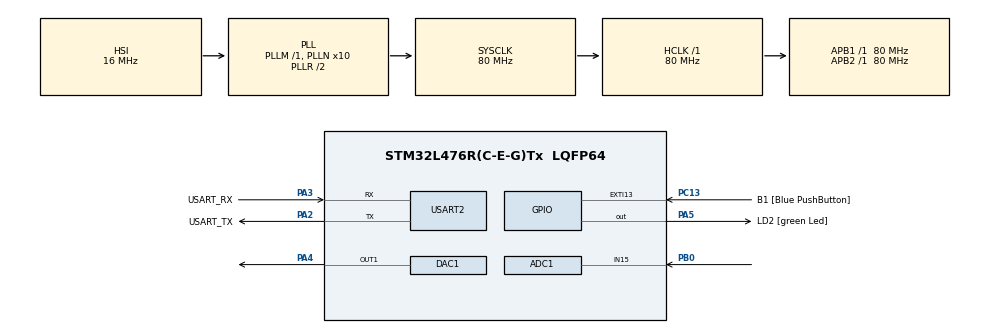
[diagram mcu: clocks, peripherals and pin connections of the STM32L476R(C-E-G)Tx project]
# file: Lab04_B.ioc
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ADC1.Channel-1\#ChannelRegularConversion=ADC_CHANNEL_15
ADC1.NbrOfConversionFlag=1
ADC1.OffsetNumber-1\#ChannelRegularConversion=ADC_OFFSET_NONE
ADC1.Rank-1\#ChannelRegularConversion=1
ADC1.SamplingTime-1\#ChannelRegularConversion=ADC_SAMPLETIME_92CYCLES_5
ADC1.master=1
DAC1.DAC_Trigger-DAC_OUT1=DAC_TRIGGER_T6_TRGO
Dma.DAC_CH1.0.Direction=DMA_MEMORY_TO_PERIPH
Dma.DAC_CH1.0.Instance=DMA1_Channel3
Dma.DAC_CH1.0.MemDataAlignment=DMA_MDATAALIGN_BYTE
Dma.DAC_CH1.0.MemInc=DMA_MINC_ENABLE
Dma.DAC_CH1.0.Mode=DMA_CIRCULAR
Dma.DAC_CH1.0.PeriphDataAlignment=DMA_PDATAALIGN_BYTE
Dma.DAC_CH1.0.PeriphInc=DMA_PINC_DISABLE
Dma.DAC_CH1.0.Priority=DMA_PRIORITY_LOW
Dma.Request0=DAC_CH1
Mcu.Family=STM32L4
Mcu.Name=STM32L476R(C-E-G)Tx
Mcu.Package=LQFP64
NVIC.ADC1_2_IRQn=true\:0\:0\:false\:false\:true\:true\:true
NVIC.DMA1_Channel3_IRQn=true\:0\:0\:false\:false\:true\:false\:true
NVIC.PriorityGroup=NVIC_PRIORITYGROUP_4
PA13\ (JTMS-SWDIO).GPIO_Label=TMS
PA13\ (JTMS-SWDIO).Mode=Serial_Wire
PA13\ (JTMS-SWDIO).Signal=SYS_JTMS-SWDIO
PA14\ (JTCK-SWCLK).GPIO_Label=TCK
PA14\ (JTCK-SWCLK).Mode=Serial_Wire
PA14\ (JTCK-SWCLK).Signal=SYS_JTCK-SWCLK
PA2.GPIO_Label=USART_TX
PA2.GPIO_Mode=GPIO_MODE_AF_PP
PA2.GPIO_PuPd=GPIO_NOPULL
PA2.GPIO_Speed=GPIO_SPEED_FREQ_VERY_HIGH
PA2.Mode=Asynchronous
PA2.Signal=USART2_TX
PA3.GPIO_Label=USART_RX
PA3.GPIO_Mode=GPIO_MODE_AF_PP
PA3.GPIO_PuPd=GPIO_NOPULL
PA3.GPIO_Speed=GPIO_SPEED_FREQ_VERY_HIGH
PA3.Mode=Asynchronous
PA3.Signal=USART2_RX
PA4.Signal=COMP_DAC11_group
PA5.GPIO_Label=LD2 [green Led]
PA5.GPIO_ModeDefaultOutputPP=GPIO_MODE_OUTPUT_PP
PA5.GPIO_PuPd=GPIO_NOPULL
PA5.GPIO_Speed=GPIO_SPEED_FREQ_LOW
PA5.Signal=GPIO_Output
PB0.Signal=ADCx_IN15
PB3\ (JTDO-TRACESWO).GPIO_Label=SWO
PB3\ (JTDO-TRACESWO).Signal=SYS_JTDO-SWO
PC13.GPIO_Label=B1 [Blue PushButton]
PC13.GPIO_ModeDefaultEXTI=GPIO_MODE_IT_FALLING
PC13.GPIO_PuPd=GPIO_NOPULL
PC13.Signal=GPXTI13
PC14-OSC32_IN\ (PC14).Mode=LSE-External-Oscillator
PC14-OSC32_IN\ (PC14).Signal=RCC_OSC32_IN
PC15-OSC32_OUT\ (PC15).Mode=LSE-External-Oscillator
PC15-OSC32_OUT\ (PC15).Signal=RCC_OSC32_OUT
PH0-OSC_IN\ (PH0).Signal=RCC_OSC_IN
PH1-OSC_OUT\ (PH1).Signal=RCC_OSC_OUT
ProjectManager.HeapSize=0x200
ProjectManager.StackSize=0x400
ProjectManager.TargetToolchain=STM32CubeIDE
RCC.ADCFreq_Value=64000000
RCC.AHBFreq_Value=80000000
RCC.APB1Freq_Value=80000000
RCC.APB1TimFreq_Value=80000000
RCC.APB2Freq_Value=80000000
RCC.APB2TimFreq_Value=80000000
RCC.CortexFreq_Value=80000000
RCC.HCLKFreq_Value=80000000
RCC.HSE_VALUE=8000000
RCC.HSI_VALUE=16000000
RCC.MSI_VALUE=4000000
RCC.PLLN=10
RCC.PLLSourceVirtual=RCC_PLLSOURCE_HSI
RCC.PREFETCH_ENABLE=1
RCC.SYSCLKFreq_VALUE=80000000
RCC.SYSCLKSource=RCC_SYSCLKSOURCE_PLLCLK
RCC.USBFreq_Value=64000000
RCC.VCOOutputFreq_Value=160000000
SH.ADCx_IN15.0=ADC1_IN15,IN15-Single-Ended
SH.COMP_DAC11_group.0=DAC1_OUT1,DAC_OUT1
TIM6.Period=4999
TIM6.Prescaler=15999
USART2.VirtualMode-Asynchronous=VM_ASYNC
VP_TIM6_VS_ClockSourceINT.Mode=Enable_Timer
board=NUCLEO-L476RG

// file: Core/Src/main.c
/* USER CODE BEGIN Header */
/**
  ******************************************************************************
  * @file           : main.c
  * @brief          : Main program body
  ******************************************************************************
  * @attention
  *
  * Copyright (c) 2022 STMicroelectronics.
  * All rights reserved.
  *
  * This software is licensed under terms that can be found in the LICENSE file
  * in the root directory of this software component.
  * If no LICENSE file comes with this software, it is provided AS-IS.
  *
  ******************************************************************************
  */
/* USER CODE END Header */
#include "main.h"

/* USER CODE BEGIN Includes */
#include <stdio.h>
/* USER CODE END Includes */

ADC_HandleTypeDef hadc1;

DAC_HandleTypeDef hdac1;
DMA_HandleTypeDef hdma_dac_ch1;

TIM_HandleTypeDef htim6;

UART_HandleTypeDef huart2;

/* USER CODE BEGIN PV */
volatile uint8_t adc_flag = 0;
volatile int adc_value;

volatile int dac_value;

char dac_dma[] = {128 ,176 ,217 ,245 ,255 ,245 ,217 ,176 ,128 ,79 ,38 ,10 ,1 ,10 ,38 ,79};
/* USER CODE END PV */

void SystemClock_Config(void);
static void MX_GPIO_Init(void);
static void MX_USART2_UART_Init(void);
static void MX_ADC1_Init(void);
static void MX_DAC1_Init(void);
static void MX_DMA_Init(void);
static void MX_TIM6_Init(void);
/* USER CODE BEGIN PFP */

/**
 * @brief Handle ADC interrupt
 * @param hadc ADC which called interrupt
 */
void HAL_ADC_ConvCpltCallback(ADC_HandleTypeDef *hadc)
{
	if(hadc == &hadc1/*czy odpowiednie peryferium*/)
	{
		adc_value = HAL_ADC_GetValue(&hadc1);
		adc_flag = 1;
	}
}

/**
 * @brief Redefine function to make printf to UART
 */
int _write(int file, char *message, int len)
{
	HAL_UART_Transmit(&huart2, (uint8_t*)message, len, 50);
	return len;
}

/* USER CODE END PFP */

int main(void)
{

  /* MCU Configuration--------------------------------------------------------*/

  /* Reset of all peripherals, Initializes the Flash interface and the Systick. */
  HAL_Init();

  /* Configure the system clock */
  SystemClock_Config();

  /* Initialize all configured peripherals */
  MX_GPIO_Init();
  MX_USART2_UART_Init();
  MX_ADC1_Init();
  MX_DAC1_Init();
  MX_DMA_Init();
  MX_TIM6_Init();

  /* Infinite loop */
  /* USER CODE BEGIN WHILE */
  HAL_DAC_SetValue(&hdac1, DAC1_CHANNEL_1, DAC_ALIGN_8B_R, 0);
  HAL_DAC_Start_DMA(&hdac1, DAC_CHANNEL_1, &dac_dma[0], 16, DAC_ALIGN_8B_R);

  HAL_TIM_Base_Start(&htim6);

  HAL_ADC_Start_IT(&hadc1);
  while (1)
  {
	  if(adc_flag == 1)
	  {
		  adc_flag = 0;

		  dac_value += 50;
		  dac_value %= 300;
		  HAL_DAC_SetValue(&hdac1, DAC1_CHANNEL_1, DAC_ALIGN_8B_R, dac_value);

		  printf("DAC value = %d\r\n", dac_value);
		  printf("ADC value = %d\r\n", adc_value);

		  HAL_ADC_Start_IT(&hadc1);
	  }
	  HAL_Delay(1000);
    /* USER CODE END WHILE */

  }
}

void SystemClock_Config(void)
{
  RCC_OscInitTypeDef RCC_OscInitStruct = {0};
  RCC_ClkInitTypeDef RCC_ClkInitStruct = {0};

  /** Configure the main internal regulator output voltage
  */
  if (HAL_PWREx_ControlVoltageScaling(PWR_REGULATOR_VOLTAGE_SCALE1) != HAL_OK)
  {
    Error_Handler();
  }
  /** Initializes the RCC Oscillators according to the specified parameters
  * in the RCC_OscInitTypeDef structure.
  */
  RCC_OscInitStruct.OscillatorType = RCC_OSCILLATORTYPE_HSI;
  RCC_OscInitStruct.HSIState = RCC_HSI_ON;
  RCC_OscInitStruct.HSICalibrationValue = RCC_HSICALIBRATION_DEFAULT;
  RCC_OscInitStruct.PLL.PLLState = RCC_PLL_ON;
  RCC_OscInitStruct.PLL.PLLSource = RCC_PLLSOURCE_HSI;
  RCC_OscInitStruct.PLL.PLLM = 1;
  RCC_OscInitStruct.PLL.PLLN = 10;
  RCC_OscInitStruct.PLL.PLLP = RCC_PLLP_DIV7;
  RCC_OscInitStruct.PLL.PLLQ = RCC_PLLQ_DIV2;
  RCC_OscInitStruct.PLL.PLLR = RCC_PLLR_DIV2;
  if (HAL_RCC_OscConfig(&RCC_OscInitStruct) != HAL_OK)
  {
    Error_Handler();
  }
  /** Initializes the CPU, AHB and APB buses clocks
  */
  RCC_ClkInitStruct.ClockType = RCC_CLOCKTYPE_HCLK|RCC_CLOCKTYPE_SYSCLK
                              |RCC_CLOCKTYPE_PCLK1|RCC_CLOCKTYPE_PCLK2;
  RCC_ClkInitStruct.SYSCLKSource = RCC_SYSCLKSOURCE_PLLCLK;
  RCC_ClkInitStruct.AHBCLKDivider = RCC_SYSCLK_DIV1;
  RCC_ClkInitStruct.APB1CLKDivider = RCC_HCLK_DIV1;
  RCC_ClkInitStruct.APB2CLKDivider = RCC_HCLK_DIV1;

  if (HAL_RCC_ClockConfig(&RCC_ClkInitStruct, FLASH_LATENCY_4) != HAL_OK)
  {
    Error_Handler();
  }
}

static void MX_ADC1_Init(void)
{

  ADC_MultiModeTypeDef multimode = {0};
  ADC_ChannelConfTypeDef sConfig = {0};

  /** Common config
  */
  hadc1.Instance = ADC1;
  hadc1.Init.ClockPrescaler = ADC_CLOCK_ASYNC_DIV1;
  hadc1.Init.Resolution = ADC_RESOLUTION_12B;
  hadc1.Init.DataAlign = ADC_DATAALIGN_RIGHT;
  hadc1.Init.ScanConvMode = ADC_SCAN_DISABLE;
  hadc1.Init.EOCSelection = ADC_EOC_SINGLE_CONV;
  hadc1.Init.LowPowerAutoWait = DISABLE;
  hadc1.Init.ContinuousConvMode = DISABLE;
  hadc1.Init.NbrOfConversion = 1;
  hadc1.Init.DiscontinuousConvMode = DISABLE;
  hadc1.Init.ExternalTrigConv = ADC_SOFTWARE_START;
  hadc1.Init.ExternalTrigConvEdge = ADC_EXTERNALTRIGCONVEDGE_NONE;
  hadc1.Init.DMAContinuousRequests = DISABLE;
  hadc1.Init.Overrun = ADC_OVR_DATA_PRESERVED;
  hadc1.Init.OversamplingMode = DISABLE;
  if (HAL_ADC_Init(&hadc1) != HAL_OK)
  {
    Error_Handler();
  }
  /** Configure the ADC multi-mode
  */
  multimode.Mode = ADC_MODE_INDEPENDENT;
  if (HAL_ADCEx_MultiModeConfigChannel(&hadc1, &multimode) != HAL_OK)
  {
    Error_Handler();
  }
  /** Configure Regular Channel
  */
  sConfig.Channel = ADC_CHANNEL_15;
  sConfig.Rank = ADC_REGULAR_RANK_1;
  sConfig.SamplingTime = ADC_SAMPLETIME_92CYCLES_5;
  sConfig.SingleDiff = ADC_SINGLE_ENDED;
  sConfig.OffsetNumber = ADC_OFFSET_NONE;
  sConfig.Offset = 0;
  if (HAL_ADC_ConfigChannel(&hadc1, &sConfig) != HAL_OK)
  {
    Error_Handler();
  }

}

static void MX_DAC1_Init(void)
{

  DAC_ChannelConfTypeDef sConfig = {0};

  /** DAC Initialization
  */
  hdac1.Instance = DAC1;
  if (HAL_DAC_Init(&hdac1) != HAL_OK)
  {
    Error_Handler();
  }
  /** DAC channel OUT1 config
  */
  sConfig.DAC_SampleAndHold = DAC_SAMPLEANDHOLD_DISABLE;
  sConfig.DAC_Trigger = DAC_TRIGGER_T6_TRGO;
  sConfig.DAC_OutputBuffer = DAC_OUTPUTBUFFER_ENABLE;
  sConfig.DAC_ConnectOnChipPeripheral = DAC_CHIPCONNECT_DISABLE;
  sConfig.DAC_UserTrimming = DAC_TRIMMING_FACTORY;
  if (HAL_DAC_ConfigChannel(&hdac1, &sConfig, DAC_CHANNEL_1) != HAL_OK)
  {
    Error_Handler();
  }

}

static void MX_TIM6_Init(void)
{

  TIM_MasterConfigTypeDef sMasterConfig = {0};

  htim6.Instance = TIM6;
  htim6.Init.Prescaler = 15999;
  htim6.Init.CounterMode = TIM_COUNTERMODE_UP;
  htim6.Init.Period = 4999;
  htim6.Init.AutoReloadPreload = TIM_AUTORELOAD_PRELOAD_DISABLE;
  if (HAL_TIM_Base_Init(&htim6) != HAL_OK)
  {
    Error_Handler();
  }
  sMasterConfig.MasterOutputTrigger = TIM_TRGO_RESET;
  sMasterConfig.MasterSlaveMode = TIM_MASTERSLAVEMODE_DISABLE;
  if (HAL_TIMEx_MasterConfigSynchronization(&htim6, &sMasterConfig) != HAL_OK)
  {
    Error_Handler();
  }

}

static void MX_USART2_UART_Init(void)
{

  huart2.Instance = USART2;
  huart2.Init.BaudRate = 115200;
  huart2.Init.WordLength = UART_WORDLENGTH_8B;
  huart2.Init.StopBits = UART_STOPBITS_1;
  huart2.Init.Parity = UART_PARITY_NONE;
  huart2.Init.Mode = UART_MODE_TX_RX;
  huart2.Init.HwFlowCtl = UART_HWCONTROL_NONE;
  huart2.Init.OverSampling = UART_OVERSAMPLING_16;
  huart2.Init.OneBitSampling = UART_ONE_BIT_SAMPLE_DISABLE;
  huart2.AdvancedInit.AdvFeatureInit = UART_ADVFEATURE_NO_INIT;
  if (HAL_UART_Init(&huart2) != HAL_OK)
  {
    Error_Handler();
  }

}

static void MX_DMA_Init(void)
{

  /* DMA controller clock enable */
  __HAL_RCC_DMA1_CLK_ENABLE();

  /* DMA interrupt init */
  /* DMA1_Channel3_IRQn interrupt configuration */
  HAL_NVIC_SetPriority(DMA1_Channel3_IRQn, 0, 0);
  HAL_NVIC_EnableIRQ(DMA1_Channel3_IRQn);

}

static void MX_GPIO_Init(void)
{
  GPIO_InitTypeDef GPIO_InitStruct = {0};

  /* GPIO Ports Clock Enable */
  __HAL_RCC_GPIOC_CLK_ENABLE();
  __HAL_RCC_GPIOH_CLK_ENABLE();
  __HAL_RCC_GPIOA_CLK_ENABLE();
  __HAL_RCC_GPIOB_CLK_ENABLE();

  /*Configure GPIO pin Output Level */
  HAL_GPIO_WritePin(LD2_GPIO_Port, LD2_Pin, GPIO_PIN_RESET);

  /*Configure GPIO pin : B1_Pin */
  GPIO_InitStruct.Pin = B1_Pin;
  GPIO_InitStruct.Mode = GPIO_MODE_IT_FALLING;
  GPIO_InitStruct.Pull = GPIO_NOPULL;
  HAL_GPIO_Init(B1_GPIO_Port, &GPIO_InitStruct);

  /*Configure GPIO pin : LD2_Pin */
  GPIO_InitStruct.Pin = LD2_Pin;
  GPIO_InitStruct.Mode = GPIO_MODE_OUTPUT_PP;
  GPIO_InitStruct.Pull = GPIO_NOPULL;
  GPIO_InitStruct.Speed = GPIO_SPEED_FREQ_LOW;
  HAL_GPIO_Init(LD2_GPIO_Port, &GPIO_InitStruct);

}

void Error_Handler(void)
{
  __disable_irq();
  while (1)
  {
  }
}
